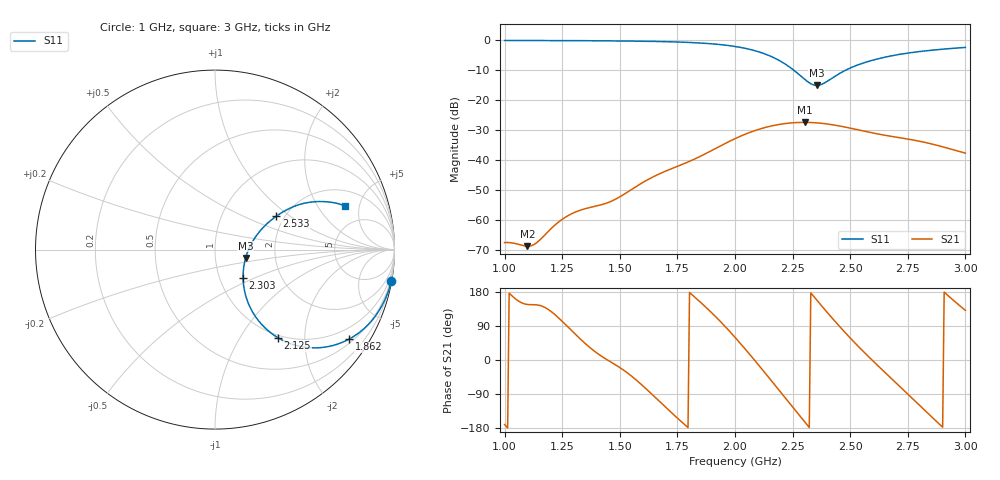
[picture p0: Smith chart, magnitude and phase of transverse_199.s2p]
! TOUCHSTONE file generated by CST MICROWAVE STUDIO
! Date and time: Tue Mar 11 13:57:42 2025
! Project name: transverse.cst
! Parameters = {Fracture=1; B=12.5; D=160; F=15; Feed=2.85625; L=100; M=20; R=0.384908; S=2; Theta=180; length=57.125; wave=114.25}
! Header version: 2024
! Port assignment regex: !\s*Touchstone port\s*([0-9]+)\s*=\s*(CST MWS port|CST DES external port|CST DES block port)\s*(.+)\s* \(\"(.*)\"\)(\s*mode\s*([0-9]+))?.*
! Touchstone port assignment:
! Touchstone port 1 = CST MWS port 1 ("")
! Touchstone port 2 = CST MWS port 2 ("")
# GHz S MA R 50
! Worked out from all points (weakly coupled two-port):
!   305 points, 1 GHz to 3 GHz, reference 50 ohm
!   highest |S21| = -27.41 dB at 2.303 GHz (marker M1); lowest = -68.8 dB at 1.099 GHz (marker M2)
!   lowest |S11| = -15.0 dB at 2.355 GHz (marker M3), VSWR 1.43, Z = 70.2 - j6.75 ohm
!   |S11| at or under -10 dB: 2.256 GHz to 2.479 GHz (223.5 MHz wide, 9.44 % of centre)
!   S12 and S22 are empty: the file has one direction only
!   S11 on the Smith chart (normalised r, x): 1 GHz: 0, -11; 1.862 GHz: 0.62, -3.18; 2.125 GHz: 0.96, -1.48; 2.303 GHz: 1.29, -0.43; 2.533 GHz: 1.81, +0.79; 3 GHz: 3.06, +3.57
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1  0.9977 -10.0  0.0004166 -170.5  0 0.0  0 0.0
1.09868  0.9963 -11.4  0.000363 146.5  0 0.0  0 0.0
1.13816  0.9956 -12.0  0.000412 145.5  0 0.0  0 0.0
1.21711  0.9937 -13.3  0.0008096 120.4  0 0.0  0 0.0
1.25658  0.9924 -14.0  0.001061 98.2  0 0.0  0 0.0
1.33553  0.9892 -15.5  0.00148 51.4  0 0.0  0 0.0
1.46711  0.9816 -18.4  0.002079 -7.6  0 0.0  0 0.0
1.67105  0.9581 -24.6  0.005857 -108.7  0 0.0  0 0.0
1.86184  0.8977 -33.8  0.01218 145.9  0 0.0  0 0.0
2  0.7916 -43.7  0.02276 59.9  0 0.0  0 0.0
2.06579  0.7054 -49.4  0.02909 13.5  0 0.0  0 0.0
2.125  0.6032 -54.5  0.0345 -30.1  0 0.0  0 0.0
2.21711  0.4044 -58.9  0.04068 -99.3  0 0.0  0 0.0
2.30263  0.223 -45.5  0.0426 -163.5  0 0.0  0 0.0
2.33553  0.1836 -28.3  0.04226 172.2  0 0.0  0 0.0
2.35526  0.1768 -15.3  0.04179 157.8  0 0.0  0 0.0
2.38158  0.1883 1.0  0.04087 138.9  0 0.0  0 0.0
2.44079  0.2611 21.2  0.03787 97.4  0 0.0  0 0.0
2.53289  0.3887 28.6  0.03205 37.3  0 0.0  0 0.0
2.67105  0.5441 27.9  0.02514 -44.4  0 0.0  0 0.0
2.82895  0.6696 23.5  0.01954 -136.1  0 0.0  0 0.0
3  0.7623 18.7  0.01303 130.9  0 0.0  0 0.0
